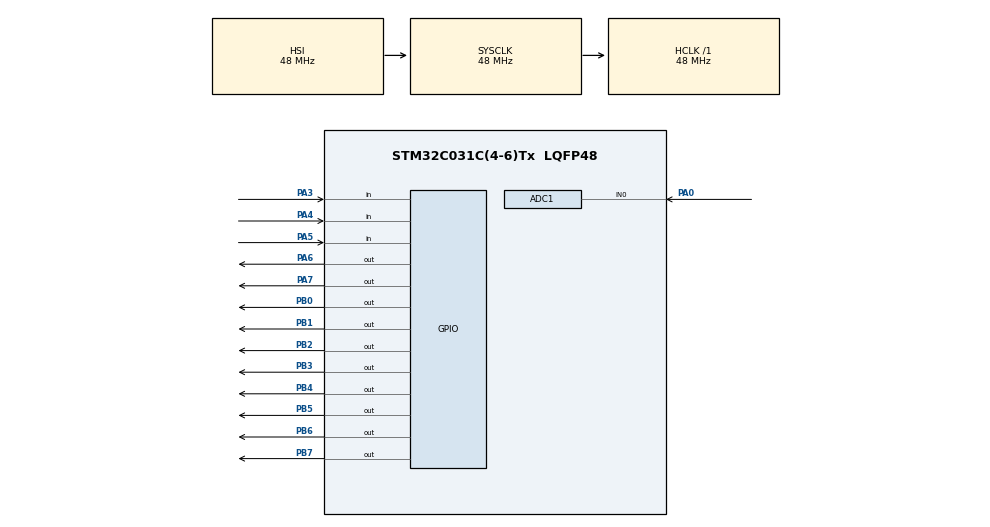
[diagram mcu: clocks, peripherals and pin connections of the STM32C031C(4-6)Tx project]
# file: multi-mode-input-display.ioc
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ADC1.NbrOfConversionFlag=0
ADC1.SelectedChannel=ADC_CHANNEL_0
ADC1.master=1
Mcu.Family=STM32C0
Mcu.Name=STM32C031C(4-6)Tx
Mcu.Package=LQFP48
PA0.Mode=IN0
PA0.Signal=ADC1_IN0
PA3.Signal=GPIO_Input
PA4.Signal=GPIO_Input
PA5.Signal=GPIO_Input
PA6.Signal=GPIO_Output
PA7.Signal=GPIO_Output
PB0.Signal=GPIO_Output
PB1.Signal=GPIO_Output
PB2.Signal=GPIO_Output
PB3.Signal=GPIO_Output
PB4.Signal=GPIO_Output
PB5.Signal=GPIO_Output
PB6.Signal=GPIO_Output
PB7.Signal=GPIO_Output
ProjectManager.HeapSize=0x200
ProjectManager.StackSize=0x400
ProjectManager.TargetToolchain=STM32CubeIDE
RCC.ADCFreq_Value=48000000
RCC.AHBFreq_Value=48000000
RCC.CortexFreq_Value=48000000
RCC.EXTERNAL_CLOCK_VALUE=12288000
RCC.HCLKFreq_Value=48000000
RCC.HSE_VALUE=48000000
RCC.HSISYSCLKDivider=RCC_HSI_DIV1
RCC.HSI_VALUE=48000000
RCC.SYSCLKFreq_VALUE=48000000
board=NUCLEO-C031C6

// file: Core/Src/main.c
/* USER CODE BEGIN Header */
/**
  ******************************************************************************
  * @file           : main.c
  * @brief          : Main program body
  ******************************************************************************
  * @attention
  *
  * Copyright (c) 2026 STMicroelectronics.
  * All rights reserved.
  *
  * This software is licensed under terms that can be found in the LICENSE file
  * in the root directory of this software component.
  * If no LICENSE file comes with this software, it is provided AS-IS.
  *
  ******************************************************************************
  */
/* USER CODE END Header */
#include "main.h"

/* USER CODE BEGIN PD */
// common anode configuration
#define D0S GPIO_PIN_6|GPIO_PIN_7 //SET == OFF
#define D0R GPIO_PIN_0|GPIO_PIN_1|GPIO_PIN_2|GPIO_PIN_3|GPIO_PIN_4|GPIO_PIN_5 //RESET == 1

#define D1S GPIO_PIN_0|GPIO_PIN_3|GPIO_PIN_4|GPIO_PIN_5|GPIO_PIN_6|GPIO_PIN_7
#define D1R GPIO_PIN_1|GPIO_PIN_2

#define D2S GPIO_PIN_2|GPIO_PIN_5|GPIO_PIN_7
#define D2R GPIO_PIN_0|GPIO_PIN_1|GPIO_PIN_3|GPIO_PIN_4|GPIO_PIN_6

#define D3S GPIO_PIN_4|GPIO_PIN_5|GPIO_PIN_7
#define D3R GPIO_PIN_0|GPIO_PIN_1|GPIO_PIN_2|GPIO_PIN_3|GPIO_PIN_6

#define D4S GPIO_PIN_0|GPIO_PIN_3|GPIO_PIN_4|GPIO_PIN_7
#define D4R GPIO_PIN_1|GPIO_PIN_2|GPIO_PIN_5|GPIO_PIN_6

#define D5S GPIO_PIN_1|GPIO_PIN_4|GPIO_PIN_7
#define D5R GPIO_PIN_0|GPIO_PIN_2|GPIO_PIN_3|GPIO_PIN_5|GPIO_PIN_6

#define D6S GPIO_PIN_1|GPIO_PIN_7
#define D6R GPIO_PIN_0|GPIO_PIN_2|GPIO_PIN_3|GPIO_PIN_4|GPIO_PIN_5|GPIO_PIN_6

#define D7S GPIO_PIN_3|GPIO_PIN_4|GPIO_PIN_5|GPIO_PIN_6|GPIO_PIN_7
#define D7R GPIO_PIN_0|GPIO_PIN_1|GPIO_PIN_2

#define D8S GPIO_PIN_7
#define D8R GPIO_PIN_0|GPIO_PIN_1|GPIO_PIN_2|GPIO_PIN_3|GPIO_PIN_4|GPIO_PIN_5|GPIO_PIN_6

#define D9S GPIO_PIN_4|GPIO_PIN_7
#define D9R GPIO_PIN_0|GPIO_PIN_1|GPIO_PIN_2|GPIO_PIN_3|GPIO_PIN_5|GPIO_PIN_6

/* USER CODE END PD */

ADC_HandleTypeDef hadc1;

void SystemClock_Config(void);
static void MX_GPIO_Init(void);
static void MX_ADC1_Init(void);

/* USER CODE BEGIN 0 */
int digit_count = 0;
void counter(int digit_count){
	//Turn off all the pins SET
	HAL_GPIO_WritePin(GPIOB, GPIO_PIN_0|GPIO_PIN_1|GPIO_PIN_2|GPIO_PIN_3|
			GPIO_PIN_4|GPIO_PIN_5|GPIO_PIN_6|GPIO_PIN_7, SET);
	switch(digit_count){
	case 0:
		HAL_GPIO_WritePin(GPIOB, D0S, SET); // turn the not required ones off
		HAL_GPIO_WritePin(GPIOB, D0R, RESET); //Turn the ones on
		break;
	case 1:
		HAL_GPIO_WritePin(GPIOB, D1S, SET); // turn the not required ones off
		HAL_GPIO_WritePin(GPIOB, D1R, RESET); //Turn the ones on
		break;
	case 2:
		HAL_GPIO_WritePin(GPIOB, D2S, SET); // turn the not required ones off
		HAL_GPIO_WritePin(GPIOB, D2R, RESET); //Turn the ones on
		break;
	case 3:
		HAL_GPIO_WritePin(GPIOB, D3S, SET); // turn the not required ones off
		HAL_GPIO_WritePin(GPIOB, D3R, RESET); //Turn the ones on
		break;
	case 4:
		HAL_GPIO_WritePin(GPIOB, D4S, SET); // turn the not required ones off
		HAL_GPIO_WritePin(GPIOB, D4R, RESET); //Turn the ones on
		break;
	case 5:
		HAL_GPIO_WritePin(GPIOB, D5S, SET); // turn the not required ones off
		HAL_GPIO_WritePin(GPIOB, D5R, RESET); //Turn the ones on
		break;
	case 6:
		HAL_GPIO_WritePin(GPIOB, D6S, SET); // turn the not required ones off
		HAL_GPIO_WritePin(GPIOB, D6R, RESET); //Turn the ones on
		break;
	case 7:
		HAL_GPIO_WritePin(GPIOB, D7S, SET); // turn the not required ones off
		HAL_GPIO_WritePin(GPIOB, D7R, RESET); //Turn the ones on
		break;
	case 8:
		HAL_GPIO_WritePin(GPIOB, D8S, SET); // turn the not required ones off
		HAL_GPIO_WritePin(GPIOB, D8R, RESET); //Turn the ones on
		break;
	case 9:
		HAL_GPIO_WritePin(GPIOB, D9S, SET); // turn the not required ones off
		HAL_GPIO_WritePin(GPIOB, D9R, RESET); //Turn the ones on
		break;

	}

}

void adc(int adcResult){
	      if ((adcResult>=0)&&(adcResult<=409)){
			  counter(0);
			  HAL_GPIO_WritePin(GPIOA, GPIO_PIN_6, SET);
		  }
		  else if((adcResult>=410)&&(adcResult<=819)){
			  counter(1);
			  HAL_GPIO_WritePin(GPIOA, GPIO_PIN_6, SET);
		  }
		  else if((adcResult>=820)&&(adcResult<=1229)){
			  counter(2);
			  HAL_GPIO_WritePin(GPIOA, GPIO_PIN_6, SET);
		  }
		  else if((adcResult>=1230)&&(adcResult<=1639)){
			  counter(3);
			  HAL_GPIO_WritePin(GPIOA, GPIO_PIN_6, SET);
		  }
		  else if((adcResult>=1640)&&(adcResult<=2049)){
			  counter(4);
			  HAL_GPIO_WritePin(GPIOA, GPIO_PIN_6, SET);
		  }
		  else if((adcResult>=2050)&&(adcResult<=2459)){
			  counter(5);
			  HAL_GPIO_WritePin(GPIOA, GPIO_PIN_6, RESET);
		  }
		  else if((adcResult>=2460)&&(adcResult<=2869)){
			  counter(6);
			  HAL_GPIO_WritePin(GPIOA, GPIO_PIN_6, RESET);
		  }
		  else if((adcResult>=2870)&&(adcResult<=3279)){
			  counter(7);
			  HAL_GPIO_WritePin(GPIOA, GPIO_PIN_6, RESET);
		  }
		  else if((adcResult>=3280)&&(adcResult<=3689)){
			  counter(8);
			  HAL_GPIO_WritePin(GPIOA, GPIO_PIN_6, RESET);
		  }
		  else if((adcResult>=3690)&&(adcResult<=4095)){
			  counter(9);
			  HAL_GPIO_WritePin(GPIOA, GPIO_PIN_6, RESET);
		  }

}
void button_counter(){
	  if(HAL_GPIO_ReadPin(GPIOA, GPIO_PIN_4)){
      HAL_GPIO_WritePin(GPIOA, GPIO_PIN_6,SET);
		  //increment the digit count
		  digit_count++;

		  if (digit_count >9){ //resets to zero
			  digit_count = 0;
		  }
		  // display the digit via the function that displays the digit
		  counter(digit_count);
		  //simple debounce
		  HAL_Delay(500);
		  //wait until button is released

		  while(HAL_GPIO_ReadPin(GPIOA, GPIO_PIN_4));
	  }

	 //if button2 pressed ==0
	  else if (HAL_GPIO_ReadPin(GPIOA, GPIO_PIN_5)){
    HAL_GPIO_WritePin(GPIOA, GPIO_PIN_6,SET);
		  //then decrease by 1
		  digit_count--;
		  if(digit_count<0){
			  digit_count =9;
		  }
		  //display the digit
		  counter(digit_count);
		  //debounce
		  HAL_Delay(500);
		  // wait until button released

		  while(HAL_GPIO_ReadPin(GPIOA, GPIO_PIN_5));

	  }
	  HAL_GPIO_WritePin(GPIOA, GPIO_PIN_7,RESET);
}
/* USER CODE END 0 */

int main(void)
{

  /* USER CODE BEGIN 1 */
	int adcResult;
  /* USER CODE END 1 */

  /* MCU Configuration--------------------------------------------------------*/

  /* Reset of all peripherals, Initializes the Flash interface and the Systick. */
  HAL_Init();

  /* Configure the system clock */
  SystemClock_Config();

  /* Initialize all configured peripherals */
  MX_GPIO_Init();
  MX_ADC1_Init();

  /* Infinite loop */
  while (1)
  {

    /* USER CODE BEGIN 3 */
	  //ADC IS 12 BIT RESOLUTION SO MAX DIGITAL VALU IS 4096
	  HAL_ADC_Start(&hadc1); //USED TO START ADC OPERATION
	  HAL_ADC_PollForConversion(&hadc1, 100);
	  adcResult = HAL_ADC_GetValue(&hadc1);
	  HAL_ADC_Stop(&hadc1);
	  if(HAL_GPIO_ReadPin(GPIOA, GPIO_PIN_3)){
		  button_counter();
		  // HAL_Delay(500);
		  // while(HAL_GPIO_ReadPin(GPIOA, GPIO_PIN_3));
	  }else {
		  adc(adcResult);
	  }

  }
  /* USER CODE END 3 */
}

void SystemClock_Config(void)
{
  RCC_OscInitTypeDef RCC_OscInitStruct = {0};
  RCC_ClkInitTypeDef RCC_ClkInitStruct = {0};

  __HAL_FLASH_SET_LATENCY(FLASH_LATENCY_1);

  /** Initializes the RCC Oscillators according to the specified parameters
  * in the RCC_OscInitTypeDef structure.
  */
  RCC_OscInitStruct.OscillatorType = RCC_OSCILLATORTYPE_HSI;
  RCC_OscInitStruct.HSIState = RCC_HSI_ON;
  RCC_OscInitStruct.HSIDiv = RCC_HSI_DIV1;
  RCC_OscInitStruct.HSICalibrationValue = RCC_HSICALIBRATION_DEFAULT;
  if (HAL_RCC_OscConfig(&RCC_OscInitStruct) != HAL_OK)
  {
    Error_Handler();
  }

  /** Initializes the CPU, AHB and APB buses clocks
  */
  RCC_ClkInitStruct.ClockType = RCC_CLOCKTYPE_HCLK|RCC_CLOCKTYPE_SYSCLK
                              |RCC_CLOCKTYPE_PCLK1;
  RCC_ClkInitStruct.SYSCLKSource = RCC_SYSCLKSOURCE_HSI;
  RCC_ClkInitStruct.SYSCLKDivider = RCC_SYSCLK_DIV1;
  RCC_ClkInitStruct.AHBCLKDivider = RCC_HCLK_DIV1;
  RCC_ClkInitStruct.APB1CLKDivider = RCC_APB1_DIV1;

  if (HAL_RCC_ClockConfig(&RCC_ClkInitStruct, FLASH_LATENCY_1) != HAL_OK)
  {
    Error_Handler();
  }
}

static void MX_ADC1_Init(void)
{

  ADC_ChannelConfTypeDef sConfig = {0};

  /** Configure the global features of the ADC (Clock, Resolution, Data Alignment and number of conversion)
  */
  hadc1.Instance = ADC1;
  hadc1.Init.ClockPrescaler = ADC_CLOCK_SYNC_PCLK_DIV2;
  hadc1.Init.Resolution = ADC_RESOLUTION_12B;
  hadc1.Init.DataAlign = ADC_DATAALIGN_RIGHT;
  hadc1.Init.ScanConvMode = ADC_SCAN_SEQ_FIXED;
  hadc1.Init.EOCSelection = ADC_EOC_SINGLE_CONV;
  hadc1.Init.LowPowerAutoWait = DISABLE;
  hadc1.Init.LowPowerAutoPowerOff = DISABLE;
  hadc1.Init.ContinuousConvMode = DISABLE;
  hadc1.Init.NbrOfConversion = 1;
  hadc1.Init.DiscontinuousConvMode = DISABLE;
  hadc1.Init.ExternalTrigConv = ADC_SOFTWARE_START;
  hadc1.Init.ExternalTrigConvEdge = ADC_EXTERNALTRIGCONVEDGE_NONE;
  hadc1.Init.DMAContinuousRequests = DISABLE;
  hadc1.Init.Overrun = ADC_OVR_DATA_PRESERVED;
  hadc1.Init.SamplingTimeCommon1 = ADC_SAMPLETIME_1CYCLE_5;
  hadc1.Init.OversamplingMode = DISABLE;
  hadc1.Init.TriggerFrequencyMode = ADC_TRIGGER_FREQ_HIGH;
  if (HAL_ADC_Init(&hadc1) != HAL_OK)
  {
    Error_Handler();
  }

  /** Configure Regular Channel
  */
  sConfig.Channel = ADC_CHANNEL_0;
  sConfig.Rank = ADC_RANK_CHANNEL_NUMBER;
  if (HAL_ADC_ConfigChannel(&hadc1, &sConfig) != HAL_OK)
  {
    Error_Handler();
  }

}

static void MX_GPIO_Init(void)
{
  GPIO_InitTypeDef GPIO_InitStruct = {0};

  /* GPIO Ports Clock Enable */
  __HAL_RCC_GPIOA_CLK_ENABLE();
  __HAL_RCC_GPIOB_CLK_ENABLE();

  /*Configure GPIO pin Output Level */
  HAL_GPIO_WritePin(GPIOA, GPIO_PIN_6|GPIO_PIN_7, GPIO_PIN_RESET);

  /*Configure GPIO pin Output Level */
  HAL_GPIO_WritePin(GPIOB, GPIO_PIN_0|GPIO_PIN_1|GPIO_PIN_2|GPIO_PIN_3
                          |GPIO_PIN_4|GPIO_PIN_5|GPIO_PIN_6|GPIO_PIN_7, GPIO_PIN_RESET);

  /*Configure GPIO pins : PA3 PA4 PA5 */
  GPIO_InitStruct.Pin = GPIO_PIN_3|GPIO_PIN_4|GPIO_PIN_5;
  GPIO_InitStruct.Mode = GPIO_MODE_INPUT;
  GPIO_InitStruct.Pull = GPIO_NOPULL;
  HAL_GPIO_Init(GPIOA, &GPIO_InitStruct);

  /*Configure GPIO pins : PA6 PA7 */
  GPIO_InitStruct.Pin = GPIO_PIN_6|GPIO_PIN_7;
  GPIO_InitStruct.Mode = GPIO_MODE_OUTPUT_PP;
  GPIO_InitStruct.Pull = GPIO_NOPULL;
  GPIO_InitStruct.Speed = GPIO_SPEED_FREQ_LOW;
  HAL_GPIO_Init(GPIOA, &GPIO_InitStruct);

  /*Configure GPIO pins : PB0 PB1 PB2 PB3
                           PB4 PB5 PB6 PB7 */
  GPIO_InitStruct.Pin = GPIO_PIN_0|GPIO_PIN_1|GPIO_PIN_2|GPIO_PIN_3
                          |GPIO_PIN_4|GPIO_PIN_5|GPIO_PIN_6|GPIO_PIN_7;
  GPIO_InitStruct.Mode = GPIO_MODE_OUTPUT_PP;
  GPIO_InitStruct.Pull = GPIO_NOPULL;
  GPIO_InitStruct.Speed = GPIO_SPEED_FREQ_LOW;
  HAL_GPIO_Init(GPIOB, &GPIO_InitStruct);

}

void Error_Handler(void)
{
  __disable_irq();
  while (1)
  {
  }
}
